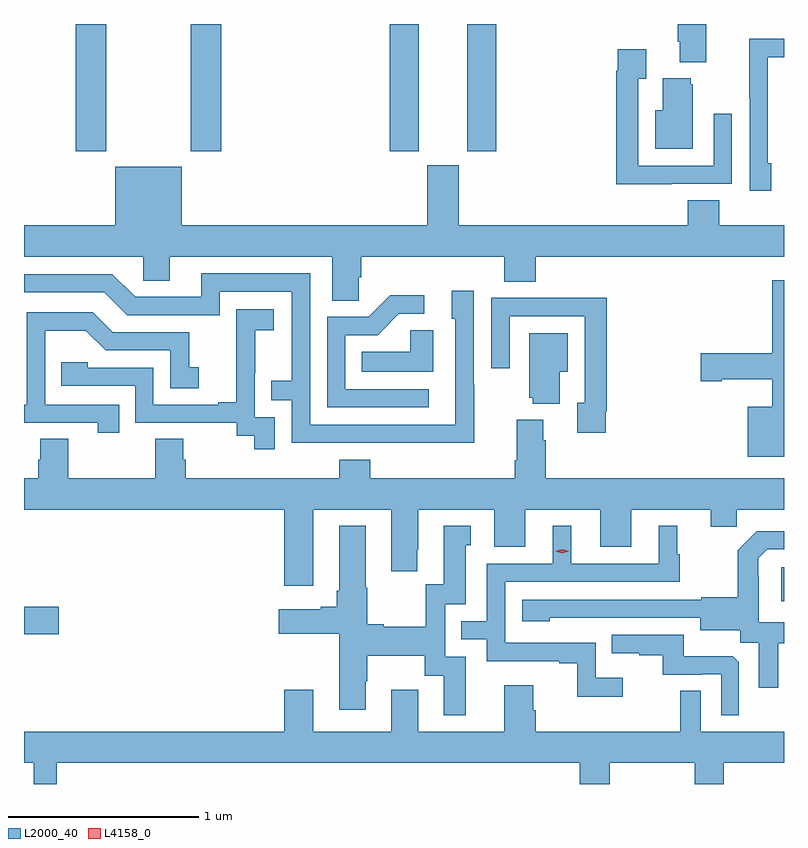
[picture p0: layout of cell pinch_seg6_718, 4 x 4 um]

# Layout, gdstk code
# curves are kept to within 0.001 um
import gdstk
lib = gdstk.Library(unit=1e-6, precision=1e-09)
def R(c, l, rs):  # rectangles x0, y0, x1, y1
    for r in rs: c.add(gdstk.rectangle(r[:2], r[2:], *l))
def P(c, l, *ps):  # polygons
    for p in ps: c.add(gdstk.Polygon(p, *l))
L2000_40 = (2000, 40)
L4158_0 = (4158, 0)

pinch_seg6_718 = lib.new_cell('pinch_seg6_718')
R(pinch_seg6_718, L2000_40, [(542.727,942.683,542.911,942.83), (546.713,942.858,546.727,943.038), (542.999,945.225,543.159,945.896), (543.604,945.225,543.764,945.896), (544.652,945.225,544.804,945.896), (545.06,945.225,545.213,945.896)])
P(pinch_seg6_718, L2000_40, [(546.319,945.896),(546.167,945.896),(546.167,945.802),(546.179,945.802),(546.179,945.695),(546.319,945.695)],
  [(546.661,945.162),(546.642,945.162),(546.642,945.72),(546.727,945.72),(546.727,945.818),(546.544,945.818),(546.544,945.511),(546.546,945.511),(546.546,945.018),(546.661,945.018)],
  [(546.137,945.054),(546.453,945.054),(546.453,945.424),(546.357,945.424),(546.357,945.15),(545.961,945.15),(545.961,945.607),(546.001,945.607),(546.001,945.763),(545.853,945.763),(545.853,945.65),(545.845,945.65),(545.845,945.053),(546.137,945.053)],
  [(546.247,945.579),(546.236,945.579),(546.236,945.61),(546.089,945.61),(546.089,945.442),(546.05,945.442),(546.05,945.239),(546.247,945.239)],
  [(544.488,944.563),(544.502,944.563),(544.502,944.672),(545.255,944.672),(545.255,944.539),(545.42,944.539),(545.42,944.672),(546.727,944.672),(546.727,944.836),(546.386,944.836),(546.386,944.969),(546.221,944.969),(546.221,944.836),(545.014,944.836),(545.014,945.153),(544.85,945.153),(544.85,944.836),(543.556,944.836),(543.556,945.145),(543.206,945.145),(543.206,944.836),(542.727,944.836),(542.727,944.672),(543.354,944.672),(543.354,944.545),(543.493,944.545),(543.493,944.672),(544.349,944.672),(544.349,944.44),(544.488,944.44)],
  [(545.097,943.997),(545.094,943.997),(545.094,944.491),(544.979,944.491),(544.979,944.346),(544.998,944.346),(544.998,943.788),(544.233,943.788),(544.233,944.583),(543.659,944.583),(543.659,944.46),(543.312,944.46),(543.192,944.58),(542.727,944.58),(542.727,944.484),(543.15,944.484),(543.27,944.364),(543.756,944.364),(543.756,944.487),(544.137,944.487),(544.137,944.018),(544.027,944.018),(544.027,943.917),(544.137,943.917),(544.137,943.692),(545.097,943.691)],
  [(546.727,944.548),(546.666,944.548),(546.666,944.162),(546.288,944.162),(546.288,944.015),(546.4,944.015),(546.4,944.027),(546.666,944.027),(546.666,943.882),(546.536,943.882),(546.536,943.619),(546.727,943.619)],
  [(544.858,943.974),(544.419,943.974),(544.419,944.259),(544.588,944.259),(544.699,944.37),(544.834,944.37),(544.834,944.468),(544.655,944.468),(544.542,944.355),(544.323,944.355),(544.323,943.878),(544.858,943.878)],
  [(545.788,943.858),(545.795,943.858),(545.795,944.456),(545.503,944.456),(545.503,944.454),(545.187,944.454),(545.187,944.085),(545.283,944.085),(545.283,944.358),(545.679,944.358),(545.679,943.902),(545.639,943.902),(545.639,943.746),(545.788,943.746)],
  [(544.047,943.827),(543.942,943.827),(543.942,944.057),(543.944,944.057),(543.944,944.285),(544.042,944.285),(544.042,944.395),(543.844,944.395),(543.844,944.189),(543.845,944.189),(543.845,943.906),(543.749,943.906),(543.749,943.893),(543.408,943.893),(543.408,944.088),(543.063,944.088),(543.063,944.115),(542.923,944.115),(542.923,943.992),(543.312,943.992),(543.312,943.797),(543.846,943.797),(543.846,943.729),(543.939,943.729),(543.939,943.659),(544.047,943.659)],
  [(543.227,943.893),(542.838,943.893),(542.838,944.282),(543.052,944.282),(543.156,944.178),(543.498,944.178),(543.498,943.98),(543.646,943.98),(543.646,944.089),(543.597,944.089),(543.597,944.274),(543.193,944.274),(543.088,944.379),(542.742,944.379),(542.742,943.893),(542.727,943.893),(542.727,943.797),(543.116,943.797),(543.116,943.746),(543.227,943.746)],
  [(544.882,944.285),(544.761,944.285),(544.761,944.17),(544.504,944.17),(544.504,944.066),(544.882,944.066)],
  [(545.548,944.066),(545.59,944.066),(545.59,944.269),(545.387,944.269),(545.387,943.929),(545.405,943.929),(545.405,943.898),(545.548,943.898)],
  [(543.578,943.602),(543.565,943.602),(543.565,943.712),(543.418,943.712),(543.418,943.504),(542.961,943.504),(542.961,943.712),(542.813,943.712),(542.813,943.602),(542.801,943.602),(542.801,943.504),(542.727,943.504),(542.727,943.34),(544.097,943.34),(544.097,942.939),(544.249,942.939),(544.249,943.34),(544.661,943.34),(544.661,943.017),(544.798,943.017),(544.798,943.129),(544.801,943.129),(544.801,943.34),(545.201,943.34),(545.201,943.146),(545.365,943.146),(545.365,943.34),(545.759,943.34),(545.759,943.146),(545.923,943.146),(545.923,943.34),(546.341,943.34),(546.341,943.25),(546.479,943.25),(546.479,943.34),(546.727,943.34),(546.727,943.504),(545.474,943.504),(545.474,943.706),(545.461,943.706),(545.461,943.813),(545.321,943.813),(545.321,943.6),(545.309,943.6),(545.309,943.504),(544.55,943.504),(544.55,943.603),(544.385,943.603),(544.385,943.504),(543.578,943.504)],
  [(545.878,942.454),(545.736,942.454),(545.736,942.639),(545.259,942.639),(545.259,942.96),(546.178,942.96),(546.178,943.104),(546.166,943.104),(546.166,943.255),(546.068,943.255),(546.068,943.056),(545.608,943.056),(545.608,943.255),(545.51,943.255),(545.51,943.056),(545.163,943.056),(545.163,942.753),(545.029,942.753),(545.029,942.657),(545.163,942.657),(545.163,942.543),(545.543,942.543),(545.543,942.531),(545.638,942.531),(545.638,942.356),(545.878,942.356)],
  [(545.053,942.567),(544.944,942.567),(544.944,942.843),(545.053,942.843),(545.053,943.152),(545.077,943.152),(545.077,943.255),(544.937,943.255),(544.937,942.948),(544.841,942.948),(544.841,942.724),(544.621,942.724),(544.621,942.737),(544.533,942.737),(544.533,942.929),(544.525,942.929),(544.525,943.255),(544.385,943.255),(544.385,942.913),(544.373,942.913),(544.373,942.83),(544.289,942.83),(544.289,942.817),(544.068,942.817),(544.068,942.688),(544.385,942.688),(544.385,942.288),(544.525,942.288),(544.525,942.438),(544.533,942.438),(544.533,942.572),(544.836,942.572),(544.836,942.466),(544.937,942.466),(544.937,942.258),(545.053,942.258)],
  [(546.697,942.638),(546.727,942.638),(546.727,942.748),(546.594,942.748),(546.594,942.989),(546.592,942.989),(546.592,943.084),(546.639,943.131),(546.727,943.131),(546.727,943.225),(546.583,943.225),(546.483,943.125),(546.483,942.88),(546.291,942.88),(546.291,942.867),(545.349,942.867),(545.349,942.752),(545.493,942.752),(545.493,942.77),(546.287,942.771),(546.287,942.704),(546.498,942.704),(546.498,942.64),(546.593,942.64),(546.593,942.402),(546.697,942.402)],
  [(546.489,942.537),(546.457,942.569),(546.199,942.569),(546.199,942.681),(545.821,942.681),(545.821,942.584),(545.965,942.584),(545.965,942.573),(546.089,942.573),(546.089,942.471),(546.296,942.471),(546.296,942.474),(546.396,942.474),(546.396,942.257),(546.489,942.257)],
  [(542.899,942.008),(545.651,942.008),(545.651,941.896),(545.811,941.896),(545.811,942.008),(546.256,942.008),(546.256,941.896),(546.411,941.896),(546.411,942.008),(546.727,942.008),(546.727,942.172),(546.288,942.172),(546.288,942.386),(546.18,942.386),(546.18,942.172),(545.42,942.172),(545.42,942.285),(545.407,942.285),(545.407,942.415),(545.255,942.415),(545.255,942.172),(544.801,942.172),(544.801,942.391),(544.661,942.391),(544.661,942.172),(544.249,942.172),(544.249,942.391),(544.097,942.391),(544.097,942.172),(542.727,942.172),(542.727,942.008),(542.778,942.008),(542.778,941.896),(542.899,941.896)])
P(pinch_seg6_718, L4158_0, [(545.559,943.111),(545.523,943.121),(545.523,943.121),(545.523,943.121),(545.559,943.131),(545.595,943.121),(545.595,943.121),(545.595,943.121)])

lib.write_gds('pinch_seg6_718.gds')
